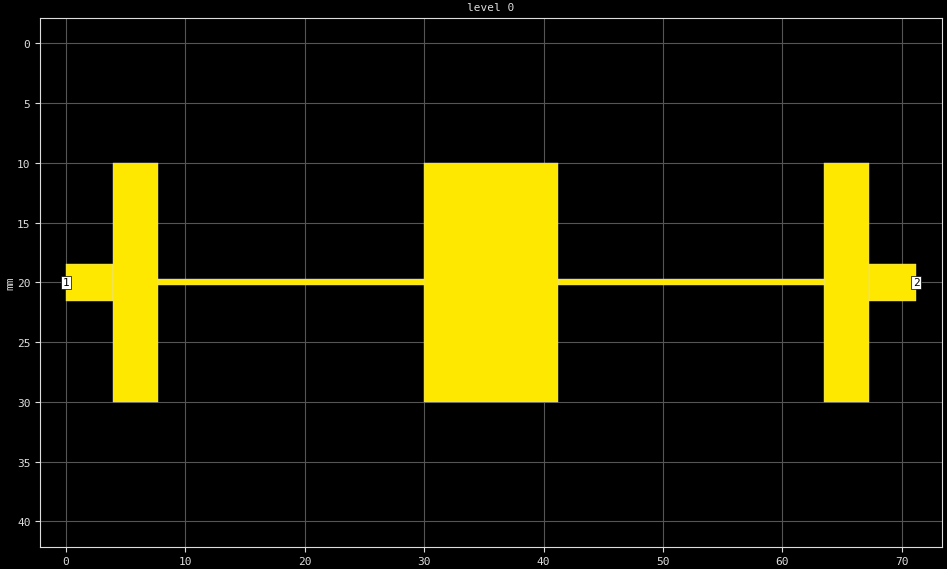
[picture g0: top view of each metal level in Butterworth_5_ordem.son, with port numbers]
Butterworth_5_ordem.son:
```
FTYP SONPROJ 13 ! Sonnet Project File
VER 15.53.lite
HEADER
LIC SL290709.106431 847bebfebdba DESKTOP-1CMJ3DP Arihe
DAT 05/13/2019 03:14:49
BUILT_BY_CREATED xgeom 15.53-Lite 04/13/2019 20:59:13
BUILT_BY_SAVED xgeom 15.53-Lite
MDATE 05/13/2019 03:14:49
HDATE 05/13/2019 03:14:49
END HEADER
DIM
FREQ GHZ
RSVY OHMM
IND NH
LNG MM
ANG DEG
CON /OH
CAP PF
RES OH
END DIM
FREQ
ABS 1.0e-9 3.0 
END FREQ
CONTROL
ABS
OPTIONS  -dj 
SPEED 0
CACHE_ABS 1
TARG_ABS 300
Q_ACC N
END CONTROL
GEO
DRP1 LEFT LINK
POLY 12 1
1
DRP1 RIGHT LINK
POLY 14 1
0
TMET "Lossless" 0 SUP 0 0 0 0
BMET "Lossless" 0 SUP 0 0 0 0
MET "Copper" 1 NOR 58000000 0 0.0347 
BOX 1 71.2 40 1424 160 20 0
      20 1 1 0 0 0 0 "Air"
      1.5306 4.1 1 0.02 0 0 0 "FR-4"
LORGN 0 40 U 
POR1 STD
POLY 12 1
3
1 50 0 0 0 -1.484743677e-006 20 
POR1 STD
POLY 14 1
1
2 50 0 0 0 71.19999852 20 
NUM 7
0 5 0 N 12 1 1 100 100 0 0 0 Y
-1.484743677e-006 18.45
3.999998515 18.45
3.999998515 21.55
-1.484743677e-006 21.55
-1.484743677e-006 18.45
END
0 5 0 N 14 1 1 100 100 0 0 0 Y
67.19999852 18.45
71.19999852 18.45
71.19999852 21.55
67.19999852 21.55
67.19999852 18.45
END
0 5 0 N 16 1 1 100 100 0 0 0 Y
4.000000742 10
7.700000742 10
7.700000742 30
4.000000742 30
4.000000742 10
END
0 5 0 N 17 1 1 100 100 0 0 0 Y
63.50000074 10
67.20000074 10
67.20000074 30
63.50000074 30
63.50000074 10
END
0 5 0 N 18 1 1 100 100 0 0 0 Y
7.700000742 19.75
30.00000074 19.75
30.00000074 20.25
7.700000742 20.25
7.700000742 19.75
END
0 5 0 N 19 1 1 100 100 0 0 0 Y
41.20000074 19.75
63.50000074 19.75
63.50000074 20.25
41.20000074 20.25
41.20000074 19.75
END
0 5 0 N 20 1 1 100 100 0 0 0 Y
30.00000074 10
41.20000074 10
41.20000074 30
30.00000074 30
30.00000074 10
END
END GEO
OPT
MAX 100
VARS
END
END OPT
VARSWP
END VARSWP
QSG
IMPORT NO
EXTRA_METAL NO
UNITS YES
ALIGN NO
REF NO
VIEW_RES NO
METALS YES
USED YES
END QSG
```
